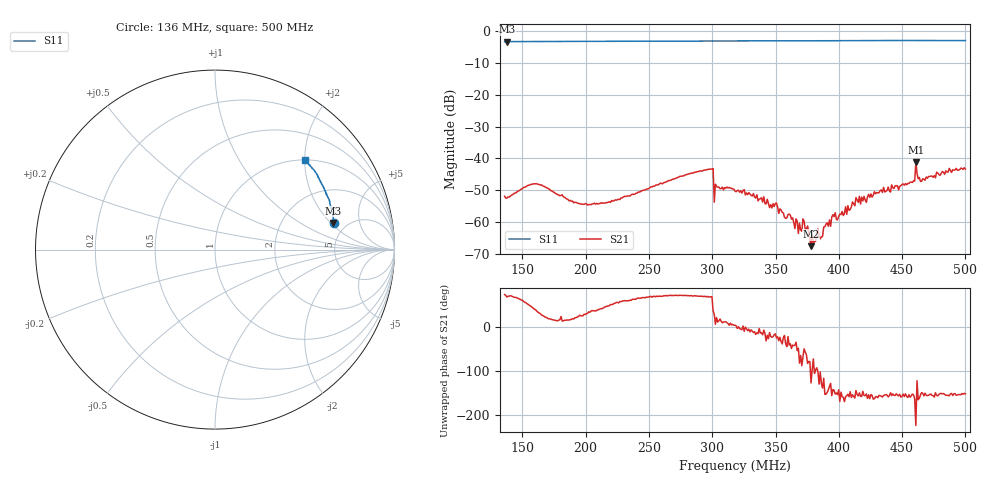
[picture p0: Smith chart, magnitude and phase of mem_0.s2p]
! NanoVNA-App
! Date: 2025-03-07 15:44:28
! Start: 136MHz Stop: 500MHz Points: 401
! S-Parameter data: F S11 S21 S12 S22
# Hz S RI R 50
!  Frequency  S11_Real  S11_Imag  S21_Real  S21_Imag  S12_Real  S12_Imag  S22_Real  S22_Imag
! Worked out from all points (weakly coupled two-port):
!   401 points, 136 MHz to 500 MHz, reference 50 ohm
!   highest |S21| = -41.09 dB at 460.9 MHz (marker M1); lowest = -67.5 dB at 378.1 MHz (marker M2)
!   lowest |S11| = -3.4 dB at 137.8 MHz (marker M3), VSWR 5.19, Z = 197 + j108 ohm
!   |S11| at or under -10 dB: nowhere
!   S12 and S22 are empty: the file has one direction only
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1.36e8  0.6607 0.147  0.000756 0.00244  0 0  0 0
1.3782e8  0.6601 0.1489  0.000931 0.0022  0 0  0 0
1.6057e8  0.6597 0.1697  0.00315 0.00247  0 0  0 0
1.9697e8  0.6547 0.2002  0.00176 0.000792  0 0  0 0
2.179e8  0.6511 0.2158  0.00141 0.0015  0 0  0 0
2.5794e8  0.6432 0.2453  0.00139 0.00367  0 0  0 0
2.9889e8  0.6381 0.2738  0.00257 0.00633  0 0  0 0
3.0344e8  0.6204 0.3105  0.00338 0.00128  0 0  0 0
3.18e8  0.6155 0.325  0.00307 0.000162  0 0  0 0
3.4985e8  0.6011 0.3552  0.00189 -0.000545  0 0  0 0
3.6896e8  0.5905 0.3727  0.000127 -0.000958  0 0  0 0
3.7351e8  0.5883 0.3778  0.000413 -0.000654  0 0  0 0
3.7806e8  0.5866 0.3815  -0.000256 -0.000335  0 0  0 0
3.7897e8  0.5864 0.3829  -8.76e-05 -0.000649  0 0  0 0
3.8625e8  0.5825 0.3911  -0.000369 -0.000456  0 0  0 0
3.9626e8  0.5761 0.4028  -0.000991 -0.000717  0 0  0 0
4.1264e8  0.5663 0.4208  -0.00172 -0.00057  0 0  0 0
4.3994e8  0.5485 0.4459  -0.00283 -0.00125  0 0  0 0
4.5814e8  0.5361 0.4601  -0.00373 -0.00194  0 0  0 0
4.6087e8  0.5315 0.4652  -0.00637 0.0061  0 0  0 0
4.6633e8  0.5276 0.4701  -0.0042 -0.00234  0 0  0 0
5e8  0.4991 0.4975  -0.00604 -0.00319  0 0  0 0
